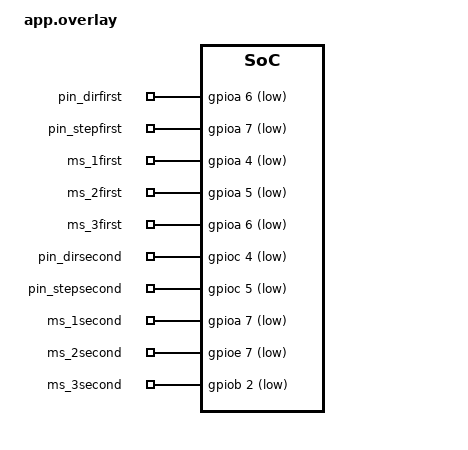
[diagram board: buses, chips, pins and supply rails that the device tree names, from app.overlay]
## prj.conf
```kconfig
# nothing here
CONFIG_SERIAL=y
CONFIG_UART_INTERRUPT_DRIVEN=y
```

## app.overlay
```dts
/{
    aliases {
	dirfirst = &pin_dirfirst;
	stepfirst = &pin_stepfirst;
	ms1first = &ms_1first;
	ms2first = &ms_2first;
	ms3first = &ms_3first;

	dirsecond = &pin_dirsecond;
	stepsecond = &pin_stepsecond;
	ms1second = &ms_1second;
	ms2second = &ms_2second;
	ms3second = &ms_3second;
    };

    gpio_keys {
        compatible = "gpio-keys";

	pin_dirfirst: pin_dirfirst {
            gpios = <&gpioa 6 GPIO_ACTIVE_LOW>;
	};

	pin_stepfirst: pin_stepfirst {
            gpios = <&gpioa 7 GPIO_ACTIVE_LOW>;
	};

	ms_1first: ms_1first {
            gpios = <&gpioa 4 GPIO_ACTIVE_LOW>;
	};

	ms_2first: ms_2first {
            gpios = <&gpioa 5 GPIO_ACTIVE_LOW>;
	};

	ms_3first: ms_3first {
            gpios = <&gpioa 6 GPIO_ACTIVE_LOW>;
	};

	pin_dirsecond: pin_dirsecond {
            gpios = <&gpioc 4 GPIO_ACTIVE_LOW>;
	};

	pin_stepsecond: pin_stepsecond {
            gpios = <&gpioc 5 GPIO_ACTIVE_LOW>;
	};

	ms_1second: ms_1second {
            gpios = <&gpioa 7 GPIO_ACTIVE_LOW>;
	};

	ms_2second: ms_2second {
            gpios = <&gpioe 7 GPIO_ACTIVE_LOW>;
	};

	ms_3second: ms_3second {
            gpios = <&gpiob 2 GPIO_ACTIVE_LOW>;
	};
    };
};
```

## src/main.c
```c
/*
 * Copyright (c) 2012-2014 Wind River Systems, Inc.
 *
 * SPDX-License-Identifier: Apache-2.0
 */

#include <stdio.h>
#include <zephyr/kernel.h>
#include <zephyr/device.h>
#include <zephyr/drivers/uart.h>
#include <zephyr/devicetree.h>
#include <zephyr/drivers/gpio.h>                                                                                                                                                     


/* The use of the X/Y standard coordinate grid is assumed
 *
 *
 *        (Y)
 *         
 *         ^
 *         |
 *         |
 *         |
 * --------|---------> (X)
 *        0|
 *         |
 *         |
 *	
 *
 * You need to think about that like watching from the camera perspective!
 *
 */

#define UART_DEVICE_NODE DT_CHOSEN(zephyr_shell_uart)

// #define LEGS_BITMASK_RIGHT 	(1 << 0)	/* BITMASK 00000001 */
// #define LEGS_BITMASK_BOTTOM 	(1 << 1)	/* BITMASK 00000010 */
// #define LEGS_BITMASK_TOP 	(1 << 2)	/* BITMASK 00000100 */
// #define LEGS_BITMASK_LEFT 	(1 << 3)	/* BITMASK 00001000 */
// #define LEGS_BITMASK_HORIZONTAL (0x09)		/* BITMASK 00001001 */
// #define LEGS_BITMASK_VERTICAL 	(0x06)		/* BITMASK 00000110 */
// #define LEGS_LIM_OFFSET_RIGHT		(50)
// #define LEGS_LIM_OFFSET_BOTTOM		(-50)
// #define LEGS_LIM_OFFSET_TOP		(50)
// #define LEGS_LIM_OFFSET_LEFT		(-50)
// #define LEGS_CENTER_OFFSET_HORIZONTAL	(0)
// #define LEGS_CENTER_OFFSET_VERTICAL	(0)

#define HEAD_BITMASK_RIGHT 	(1 << 4)	/* BITMASK 00010000 */
#define HEAD_BITMASK_BOTTOM 	(1 << 5)	/* BITMASK 00100000 */
#define HEAD_BITMASK_TOP 	(1 << 6)	/* BITMASK 01000000 */
#define HEAD_BITMASK_LEFT 	(1 << 7)	/* BITMASK 10000000 */
#define HEAD_BITMASK_HORIZONTAL	(0x90)		/* BITMASK 10010000 */
#define HEAD_BITMASK_VERTICAL 	(0x60)		/* BITMASK 01100000 */
#define HEAD_LIM_OFFSET_RIGHT		(50)
#define HEAD_LIM_OFFSET_BOTTOM		(-50)
#define HEAD_LIM_OFFSET_TOP		(50)
#define HEAD_LIM_OFFSET_LEFT		(-50)
#define HEAD_CENTER_OFFSET_HORIZONTAL	(0)
#define HEAD_CENTER_OFFSET_VERTICAL	(0)

typedef struct {
	struct gpio_dt_spec dir_pin;
	struct gpio_dt_spec step_pin;
	struct gpio_dt_spec ms1_pin;
	struct gpio_dt_spec ms2_pin;
	struct gpio_dt_spec ms3_pin;
	int16_t axis_offset;
} motor_driver;

#define TIMER_PERIOD_MS 100

static struct k_timer my_timer;
static volatile bool timer_expired = true;

void timer_handler(struct k_timer *timer_id)
{
    timer_expired = true;
}


static const struct device *const uart_dev = DEVICE_DT_GET(UART_DEVICE_NODE);

static const motor_driver motor_1 = {
	.dir_pin = GPIO_DT_SPEC_GET(DT_ALIAS(dirfirst), gpios),
	.step_pin = GPIO_DT_SPEC_GET(DT_ALIAS(stepfirst), gpios),
	.ms1_pin = GPIO_DT_SPEC_GET(DT_ALIAS(ms1first), gpios),
	.ms2_pin = GPIO_DT_SPEC_GET(DT_ALIAS(ms2first), gpios),
	.ms3_pin = GPIO_DT_SPEC_GET(DT_ALIAS(ms3first), gpios),
};

static const motor_driver motor_2 = {
	.dir_pin = GPIO_DT_SPEC_GET(DT_ALIAS(dirsecond), gpios),
	.step_pin = GPIO_DT_SPEC_GET(DT_ALIAS(stepsecond), gpios),
	.ms1_pin = GPIO_DT_SPEC_GET(DT_ALIAS(ms1second), gpios),
	.ms2_pin = GPIO_DT_SPEC_GET(DT_ALIAS(ms2second), gpios),
	.ms3_pin = GPIO_DT_SPEC_GET(DT_ALIAS(ms3second), gpios),
};



void motor_drivers_init() {
	gpio_pin_configure_dt(&motor_1.ms1_pin, GPIO_OUTPUT_LOW);
	gpio_pin_configure_dt(&motor_1.ms2_pin, GPIO_OUTPUT_LOW);
	gpio_pin_configure_dt(&motor_1.ms3_pin, GPIO_OUTPUT_LOW);

	gpio_pin_configure_dt(&motor_2.ms1_pin, GPIO_OUTPUT_LOW);
	gpio_pin_configure_dt(&motor_2.ms2_pin, GPIO_OUTPUT_LOW);
	gpio_pin_configure_dt(&motor_2.ms3_pin, GPIO_OUTPUT_LOW);
}

void do_motor_steps(uint8_t *byte)
{
	if ((*byte & HEAD_BITMASK_HORIZONTAL) == HEAD_BITMASK_HORIZONTAL)
	{
		if (motor_1.axis_offset > HEAD_CENTER_OFFSET_HORIZONTAL)
		{
			gpio_pin_configure_dt(&motor_1.dir_pin, GPIO_OUTPUT_HIGH);	// Maybe wrong direction
			gpio_pin_configure_dt(&motor_1.step_pin, GPIO_OUTPUT_HIGH);
		}
											// Maybe they(^ _) need to be swapped
		if (motor_1.axis_offset < HEAD_CENTER_OFFSET_HORIZONTAL)
		{
			gpio_pin_configure_dt(&motor_1.dir_pin, GPIO_OUTPUT_LOW);	// Maybe wrong direction
			gpio_pin_configure_dt(&motor_1.step_pin, GPIO_OUTPUT_HIGH);
		}

	} else {

		if (*byte & HEAD_BITMASK_LEFT)
		{
			if (motor_1.axis_offset != HEAD_LIM_OFFSET_LEFT)
			{
				gpio_pin_configure_dt(&motor_1.dir_pin, GPIO_OUTPUT_HIGH);	// Maybe wrong direction
				gpio_pin_configure_dt(&motor_1.step_pin, GPIO_OUTPUT_HIGH);
			}

		}

		if (*byte & HEAD_BITMASK_RIGHT)
		{
			if (motor_1.axis_offset != HEAD_LIM_OFFSET_RIGHT)
			{
				gpio_pin_configure_dt(&motor_1.dir_pin, GPIO_OUTPUT_LOW);	// Maybe wrong direction
				gpio_pin_configure_dt(&motor_1.step_pin, GPIO_OUTPUT_HIGH);
			}

		}
	}


	if ((*byte & HEAD_BITMASK_VERTICAL) == HEAD_BITMASK_VERTICAL)
	{
		if (motor_1.axis_offset > HEAD_CENTER_OFFSET_VERTICAL)
		{
			gpio_pin_configure_dt(&motor_2.dir_pin, GPIO_OUTPUT_HIGH);	// Maybe wrong direction
			gpio_pin_configure_dt(&motor_2.step_pin, GPIO_OUTPUT_HIGH);
		}
											// Maybe they(^ _) need to be swapped
		if (motor_1.axis_offset < HEAD_CENTER_OFFSET_VERTICAL)
		{
			gpio_pin_configure_dt(&motor_2.dir_pin, GPIO_OUTPUT_LOW);	// Maybe wrong direction
			gpio_pin_configure_dt(&motor_2.step_pin, GPIO_OUTPUT_HIGH);
		}

	} else {

		if (*byte & HEAD_BITMASK_TOP)
		{
			if (motor_1.axis_offset != HEAD_LIM_OFFSET_TOP)
			{
				gpio_pin_configure_dt(&motor_2.dir_pin, GPIO_OUTPUT_HIGH);	// Maybe wrong direction
				gpio_pin_configure_dt(&motor_2.step_pin, GPIO_OUTPUT_HIGH);
			}

		}

		if (*byte & HEAD_BITMASK_BOTTOM)
		{
			if (motor_1.axis_offset != HEAD_LIM_OFFSET_BOTTOM)
			{
				gpio_pin_configure_dt(&motor_2.dir_pin, GPIO_OUTPUT_LOW);	// Maybe wrong direction
				gpio_pin_configure_dt(&motor_2.step_pin, GPIO_OUTPUT_HIGH);
			}

		}
	}

	k_sleep(K_USEC(1200));
	//k_sleep(K_MSEC(10));

	gpio_pin_configure_dt(&motor_1.step_pin, GPIO_OUTPUT_LOW);
	gpio_pin_configure_dt(&motor_2.step_pin, GPIO_OUTPUT_LOW);
	//printk("Processed\n");
}

void serial_cb(const struct device *dev, void *user_data)
{
	uint8_t c;

	if (!uart_irq_update(uart_dev)) {
		return;
	}

	if (!uart_irq_rx_ready(uart_dev)) {
		return;
	}

	if (uart_fifo_read(uart_dev, &c, 1) == 1) {
		printk("Symbol is ---> %d\n", c);
		//do_motor_steps(c);
		timer_expired = false;
		k_timer_stop(&my_timer);
		k_timer_start(&my_timer, K_MSEC(TIMER_PERIOD_MS), K_NO_WAIT);
	}

}

int main(void)
{
	if (!device_is_ready(uart_dev)) {
		printk("UART device not found!");
		return 0;
	}

	int ret = uart_irq_callback_user_data_set(uart_dev, serial_cb, NULL);

	if (ret < 0) {
		if (ret == -ENOTSUP) {
			printk("Interrupt-driven UART API support not enabled\n");
		} else if (ret == -ENOSYS) {
			printk("UART device does not support interrupt-driven API\n");
		} else {
			printk("Error setting UART callback: %d\n", ret);
		}
		return 0;
	}

	uart_irq_rx_enable(uart_dev);
	motor_drivers_init();


	bool dr = true; 
	char t = 49;
	int err;
	float j;

	printk("Timer status example\n");

	k_timer_init(&my_timer, timer_handler, NULL);
	// k_timer_start(&my_timer, K_MSEC(TIMER_PERIOD_MS), K_NO_WAIT);

	while(1) {
		if (!timer_expired) {
			do_motor_steps(&t);
		}

		//k_sleep(K_MSEC(20));

		//if (!timer_expired) {
			//do_motor_steps(&t);
		//}


	}

	return 0;
}
```
